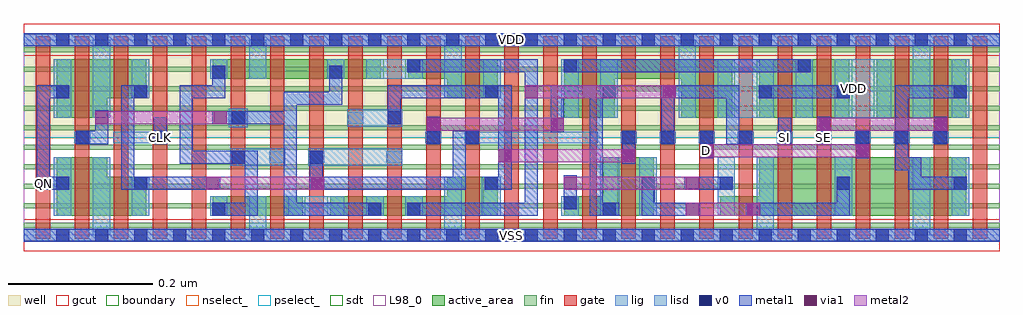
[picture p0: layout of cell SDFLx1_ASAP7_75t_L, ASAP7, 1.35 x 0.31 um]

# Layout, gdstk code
import gdstk
lib = gdstk.Library(unit=1e-6, precision=2.5e-10)
def R(c, l, rs):  # rectangles x0, y0, x1, y1
    for r in rs: c.add(gdstk.rectangle(r[:2], r[2:], *l))
def A(c, l, x, y, w, h, nx, ny, dx, dy):  # array of equal rectangles
    R(c, l, [(x+i*dx, y+j*dy, x+i*dx+w, y+j*dy+h) for i in range(nx) for j in range(ny)])
def P(c, l, *ps):  # polygons
    for p in ps: c.add(gdstk.Polygon(p, *l))
well = (1, 0)
fin = (2, 0)
gate = (7, 0)
gcut = (10, 0)
active_area = (11, 0)
nselect_ = (12, 0)
pselect_ = (13, 0)
lig = (16, 0)
lisd = (17, 0)
v0 = (18, 0)
metal1 = (19, 0)
metal2 = (20, 0)
via1 = (21, 0)
sdt = (88, 0)
L98_0 = (98, 0)
boundary = (100, 0)

sdflx1_asap7_75t_l = lib.new_cell('SDFLx1_ASAP7_75t_L')
R(sdflx1_asap7_75t_l, well, [(0,0.135,1.35,0.27)])
A(sdflx1_asap7_75t_l, fin, 0, 0.01, 1.35, 0.007, 1, 10, 0, 0.027)
A(sdflx1_asap7_75t_l, gate, 0.017, -0.005, 0.02, 0.28, 25, 1, 0.054, 0)
R(sdflx1_asap7_75t_l, gcut, [(0,-0.022,1.35,0.022), (0,0.248,1.35,0.292)])
R(sdflx1_asap7_75t_l, active_area, [(0.262,0.027,0.386,0.054), (1.018,0.162,1.142,0.243), (1.18,0.162,1.304,0.243), (0.262,0.216,0.494,0.243)])
P(sdflx1_asap7_75t_l, active_area, [(0.424,0.027),(0.656,0.027),(0.656,0.081),(0.586,0.081),(0.586,0.054),(0.424,0.054)],
  [(0.872,0.108),(0.802,0.108),(0.802,0.054),(0.748,0.054),(0.748,0.027),(0.872,0.027)],
  [(1.018,0.054),(0.964,0.054),(0.964,0.027),(1.304,0.027),(1.304,0.108),(1.018,0.108)],
  [(0.17,0.081),(0.116,0.081),(0.116,0.108),(0.046,0.108),(0.046,0.027),(0.17,0.027)],
  [(0.532,0.216),(0.586,0.216),(0.586,0.189),(0.656,0.189),(0.656,0.243),(0.532,0.243)],
  [(0.91,0.162),(0.98,0.162),(0.98,0.243),(0.748,0.243),(0.748,0.162),(0.818,0.162),(0.818,0.216),(0.91,0.216)],
  [(0.046,0.162),(0.116,0.162),(0.116,0.189),(0.17,0.189),(0.17,0.243),(0.046,0.243)])
R(sdflx1_asap7_75t_l, nselect_, [(0,0,1.35,0.135)])
R(sdflx1_asap7_75t_l, pselect_, [(0,0.135,1.35,0.27)])
A(sdflx1_asap7_75t_l, lig, 0.826, 0.127, 0.022, 0.016, 9, 1, 0.054, 0)
R(sdflx1_asap7_75t_l, lig, [(0,-0.008,1.35,0.008), (0.34,0.1,0.362,0.116), (0.394,0.1,0.416,0.116), (0.502,0.1,0.524,0.116), (0.07,0.127,0.092,0.143), (0.124,0.127,0.2,0.143), (0.556,0.127,0.578,0.143), (0.61,0.127,0.794,0.143), (0.286,0.154,0.308,0.17), (0.448,0.154,0.47,0.17), (0,0.262,1.35,0.278)])
A(sdflx1_asap7_75t_l, lisd, 0.96, 0.027, 0.024, 0.081, 3, 1, 0.162, 0)
R(sdflx1_asap7_75t_l, lisd, [(0.096,0,0.12,0.108), (0.312,0,0.336,0.054), (0.582,0,0.606,0.081), (1.014,0,1.038,0.108), (1.23,0,1.254,0.108), (0.042,0.027,0.066,0.108), (0.15,0.027,0.174,0.081), (0.258,0.027,0.282,0.054), (0.366,0.027,0.444,0.054), (0.474,0.027,0.498,0.054), (0.528,0.027,0.552,0.054), (0.634,0.027,0.66,0.081), (0.744,0.027,0.768,0.054), (0.798,0.027,0.824,0.108), (0.852,0.027,0.876,0.108), (0.286,0.096,0.362,0.12), (0.394,0.096,0.524,0.12), (0.284,0.149,0.31,0.175), (0.448,0.15,0.524,0.174), (0.042,0.162,0.066,0.243), (0.096,0.162,0.12,0.27), (0.744,0.162,0.768,0.243), (0.798,0.162,0.822,0.243), (0.906,0.162,0.93,0.27), (0.96,0.162,1.038,0.243), (1.068,0.162,1.092,0.243), (1.122,0.162,1.2,0.243), (1.23,0.162,1.254,0.27), (1.284,0.162,1.308,0.243), (0.15,0.189,0.174,0.243), (0.582,0.189,0.606,0.27), (0.636,0.189,0.66,0.243), (0.258,0.216,0.282,0.243), (0.312,0.216,0.336,0.27), (0.42,0.216,0.444,0.243), (0.474,0.216,0.552,0.243)])
A(sdflx1_asap7_75t_l, v0, 0.045, -0.009, 0.018, 0.018, 24, 2, 0.054, 0.27)
A(sdflx1_asap7_75t_l, v0, 0.963, 0.063, 0.018, 0.018, 3, 1, 0.162, 0)
A(sdflx1_asap7_75t_l, v0, 0.828, 0.126, 0.018, 0.018, 9, 1, 0.054, 0)
R(sdflx1_asap7_75t_l, v0, [(0.261,0.027,0.279,0.045), (0.477,0.027,0.495,0.045), (0.531,0.027,0.549,0.045), (0.801,0.027,0.819,0.045), (0.747,0.036,0.765,0.054), (0.045,0.063,0.063,0.081), (0.153,0.063,0.171,0.081), (0.638,0.063,0.656,0.081), (0.855,0.063,0.873,0.081), (0.288,0.099,0.306,0.117), (0.396,0.099,0.414,0.117), (0.072,0.126,0.09,0.144), (0.18,0.126,0.198,0.144), (0.558,0.126,0.576,0.144), (0.612,0.126,0.63,0.144), (0.288,0.153,0.306,0.171), (0.504,0.153,0.522,0.171), (0.045,0.189,0.063,0.207), (0.153,0.189,0.171,0.207), (0.639,0.189,0.657,0.207), (0.801,0.189,0.819,0.207), (1.017,0.189,1.035,0.207), (1.125,0.189,1.143,0.207), (1.287,0.189,1.305,0.207), (0.261,0.216,0.279,0.234), (0.423,0.216,0.441,0.234), (0.531,0.225,0.549,0.243), (0.747,0.225,0.765,0.243), (1.071,0.225,1.089,0.243)])
R(sdflx1_asap7_75t_l, metal1, [(0,-0.009,1.35,0.009), (0.747,0.036,0.765,0.083), (0.914,0.063,0.981,0.081), (0.828,0.099,0.846,0.144), (0.936,0.106,0.954,0.144), (1.152,0.106,1.17,0.144), (0.18,0.126,0.198,0.163), (0.558,0.126,0.576,0.164), (1.044,0.126,1.062,0.162), (1.098,0.126,1.116,0.164), (1.26,0.126,1.278,0.164), (1.017,0.189,1.143,0.207), (0.747,0.225,1.089,0.243), (0,0.261,1.35,0.279)])
P(sdflx1_asap7_75t_l, metal1, [(1.143,0.081),(1.125,0.081),(1.125,0.045),(0.999,0.045),(0.999,0.027),(1.143,0.027)],
  [(0.936,0.045),(0.873,0.045),(0.873,0.081),(0.855,0.081),(0.855,0.027),(0.936,0.027)],
  [(0.612,0.126),(0.63,0.126),(0.63,0.144),(0.594,0.144),(0.594,0.081),(0.414,0.081),(0.414,0.117),(0.396,0.117),(0.396,0.063),(0.612,0.063)],
  [(0.117,0.173),(0.099,0.173),(0.099,0.144),(0.072,0.144),(0.072,0.126),(0.117,0.126)],
  [(0.272,0.081),(0.153,0.081),(0.153,0.189),(0.171,0.189),(0.171,0.207),(0.135,0.207),(0.135,0.063),(0.272,0.063)],
  [(0.675,0.207),(0.504,0.207),(0.504,0.153),(0.522,0.153),(0.522,0.189),(0.657,0.189),(0.657,0.081),(0.638,0.081),(0.638,0.063),(0.675,0.063)],
  [(0.063,0.081),(0.036,0.081),(0.036,0.189),(0.063,0.189),(0.063,0.207),(0.018,0.207),(0.018,0.063),(0.063,0.063)],
  [(0.824,0.045),(0.801,0.045),(0.801,0.189),(0.819,0.189),(0.819,0.207),(0.729,0.207),(0.729,0.142),(0.747,0.142),(0.747,0.189),(0.783,0.189),(0.783,0.027),(0.824,0.027)],
  [(0.9,0.189),(0.972,0.189),(0.972,0.126),(1.008,0.126),(1.008,0.144),(0.99,0.144),(0.99,0.207),(0.882,0.207),(0.882,0.126),(0.9,0.126)],
  [(1.305,0.207),(1.206,0.207),(1.206,0.09),(1.224,0.09),(1.224,0.063),(1.305,0.063),(1.305,0.081),(1.242,0.081),(1.242,0.108),(1.224,0.108),(1.224,0.189),(1.305,0.189)],
  [(0.711,0.243),(0.531,0.243),(0.531,0.225),(0.693,0.225),(0.693,0.045),(0.531,0.045),(0.531,0.027),(0.711,0.027)],
  [(0.324,0.117),(0.234,0.117),(0.234,0.189),(0.279,0.189),(0.279,0.234),(0.261,0.234),(0.261,0.207),(0.216,0.207),(0.216,0.099),(0.306,0.099),(0.306,0.045),(0.261,0.045),(0.261,0.027),(0.324,0.027)],
  [(0.495,0.045),(0.378,0.045),(0.378,0.18),(0.441,0.18),(0.441,0.234),(0.423,0.234),(0.423,0.198),(0.36,0.198),(0.36,0.171),(0.261,0.171),(0.261,0.153),(0.36,0.153),(0.36,0.027),(0.495,0.027)])
R(sdflx1_asap7_75t_l, metal2, [(0.916,0.027,1.019,0.045), (0.252,0.063,0.416,0.081), (0.747,0.063,0.934,0.081), (0.657,0.101,0.846,0.119), (0.936,0.108,1.17,0.126), (0.558,0.144,0.747,0.162), (1.098,0.144,1.278,0.162), (0.099,0.153,0.281,0.171), (0.693,0.189,0.902,0.207)])
R(sdflx1_asap7_75t_l, via1, [(0.916,0.027,0.934,0.045), (1.001,0.027,1.019,0.045), (0.252,0.063,0.27,0.081), (0.398,0.063,0.416,0.081), (0.747,0.063,0.765,0.081), (0.916,0.063,0.934,0.081), (0.657,0.101,0.675,0.119), (0.828,0.101,0.846,0.119), (0.936,0.108,0.954,0.126), (1.152,0.108,1.17,0.126), (0.558,0.144,0.576,0.162), (0.729,0.144,0.747,0.162), (1.098,0.144,1.116,0.162), (1.26,0.144,1.278,0.162), (0.099,0.153,0.117,0.171), (0.263,0.153,0.281,0.171), (0.693,0.189,0.711,0.207), (0.884,0.189,0.902,0.207)])
A(sdflx1_asap7_75t_l, sdt, 0.258, 0.027, 0.024, 0.027, 6, 1, 0.054, 0)
A(sdflx1_asap7_75t_l, sdt, 1.014, 0.027, 0.024, 0.081, 3, 1, 0.108, 0)
A(sdflx1_asap7_75t_l, sdt, 0.906, 0.162, 0.024, 0.081, 8, 1, 0.054, 0)
A(sdflx1_asap7_75t_l, sdt, 0.42, 0.216, 0.024, 0.027, 3, 1, 0.054, 0)
R(sdflx1_asap7_75t_l, sdt, [(0.042,0.027,0.066,0.108), (0.096,0.027,0.12,0.108), (0.15,0.027,0.174,0.081), (0.582,0.027,0.606,0.081), (0.636,0.027,0.66,0.081), (0.744,0.027,0.768,0.054), (0.798,0.027,0.822,0.108), (0.852,0.027,0.876,0.108), (0.96,0.027,0.984,0.054), (1.284,0.027,1.308,0.108), (0.042,0.162,0.066,0.243), (0.096,0.162,0.12,0.243), (0.744,0.162,0.768,0.243), (0.798,0.162,0.822,0.243), (0.15,0.189,0.174,0.243), (0.582,0.189,0.606,0.243), (0.636,0.189,0.66,0.243), (0.258,0.216,0.282,0.243), (0.312,0.216,0.336,0.243)])
R(sdflx1_asap7_75t_l, L98_0, [(0,0,1.35,0.27)])
R(sdflx1_asap7_75t_l, boundary, [(0,0,1.35,0.27)])
sdflx1_asap7_75t_l.add(gdstk.Label('SI', (1.053,0.135), layer=19, texttype=251))
sdflx1_asap7_75t_l.add(gdstk.Label('SE', (1.107,0.135), layer=19, texttype=251))
sdflx1_asap7_75t_l.add(gdstk.Label('QN', (0.027,0.072), layer=19, texttype=251))
sdflx1_asap7_75t_l.add(gdstk.Label('D', (0.945,0.117), layer=19, texttype=251))
sdflx1_asap7_75t_l.add(gdstk.Label('CLK', (0.189,0.135), layer=19, texttype=251))
sdflx1_asap7_75t_l.add(gdstk.Label('VSS', (0.675,0), layer=19, texttype=251))
sdflx1_asap7_75t_l.add(gdstk.Label('VDD', (0.675,0.27), layer=19, texttype=251))
sdflx1_asap7_75t_l.add(gdstk.Label('VDD', (1.1475,0.2025), layer=1, texttype=251))
sdflx1_asap7_75t_l.add(gdstk.Label('VSS', (1.5525,0.2025), layer=3, texttype=251))

lib.write_gds('SDFLx1_ASAP7_75t_L.gds')
